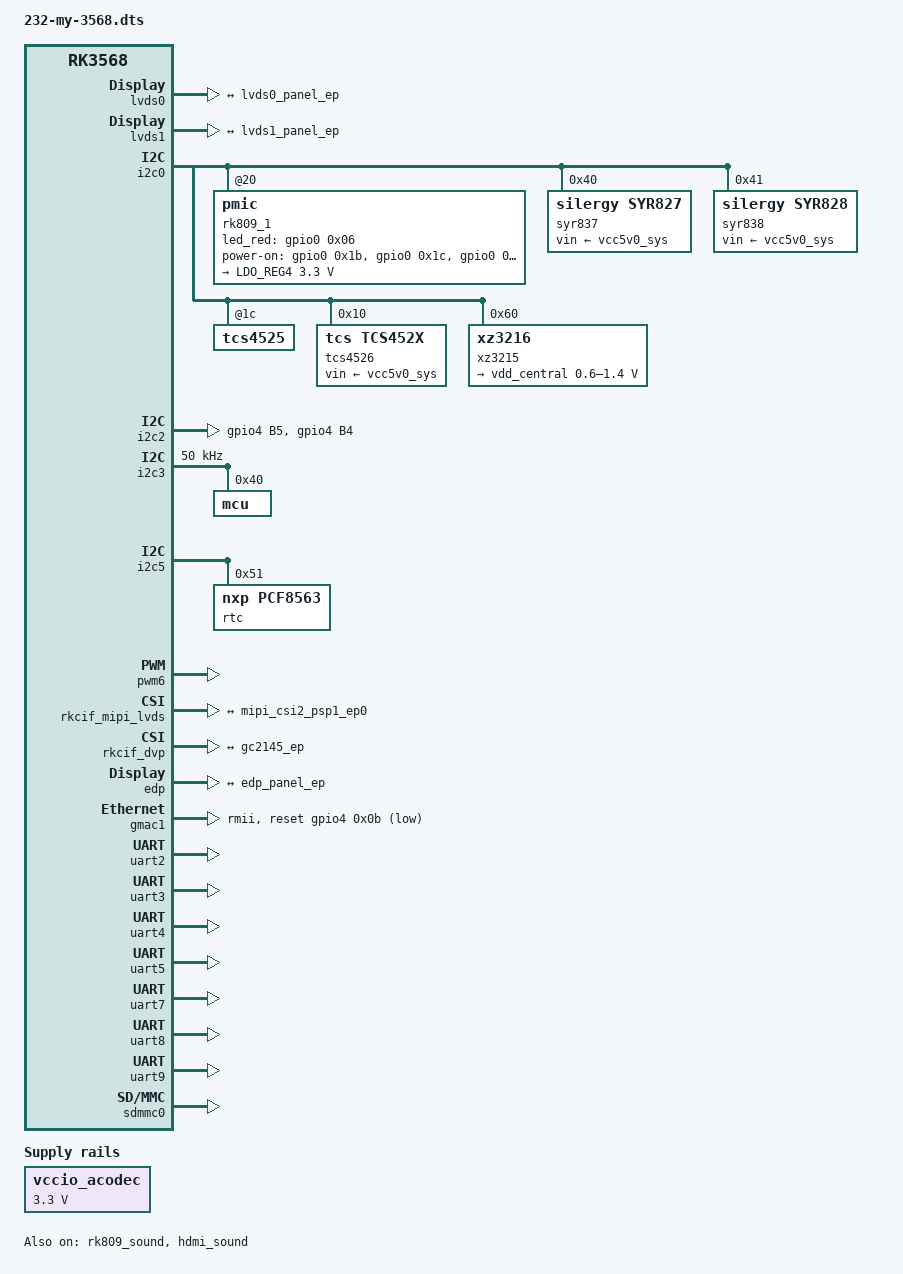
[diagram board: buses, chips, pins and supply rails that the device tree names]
// SPDX-License-Identifier: (GPL-2.0+ OR MIT)
/*
 * Copyright (c) 2020 Rockchip Electronics Co., Ltd.
 *
 */

#include "rk3568-evb2-lp4x-v10.dtsi"
#include "rk3568-android.dtsi"


/ {
    serial-number = "5182024030600284";

    
    backlight2 {
		default-brightness-level = <0x80>;
		enable-gpios = <&gpio3 0x18 0x00>;
		lcd_backlight_max = <0xff>;
		lcd_backlight_min = <0x32>;
		lcd_pwm_pol = <0x01>;
		pwms = <&pwm7 0 25000 0>;
        status = "disabled";
	};

    edp-panel {
        compatible = "simple-panel";
        backlight = <&backlight>;
        enable-gpios = <&gpio3 0x17 0x00>;
        enable-delay-ms = <100>;
        prepare-delay-ms = <200>;
        status = "disabled";
    
        display-timings {
            native-mode = <&edp_timing>;
    
            edp_timing: edp_timing {
                clock-frequency = <148500000>; // 80000000
                hactive = <1920>;
                hback-porch = <240>;
                hfront-porch = <20>;
                hsync-len = <2>;
                vactive = <1080>;
                vback-porch = <20>;
                vfront-porch = <32>;
                vsync-len = <2>;
                hsync-active = <0>;
                vsync-active = <0>;
                de-active = <0>;
                pixelclk-active = <0>;
            };
        };

        ports {
            #address-cells = <1>;
            #size-cells = <0>;

            port@0 {
                reg = <0x00>;
                edp_panel_ep: endpoint {
                    remote-endpoint = <&edp_psp1_ep>;
                };
            };
        };
    };

    lvds-panel {
		backlight = <&backlight>;
		bus-format = <0x1010>;
		compatible = "simple-panel";
		enable-delay-ms = <0x64>;
		init-delay-ms = <0x64>;
		prepare-delay-ms = <0xc8>;
		unprepare-delay-ms = <0xc8>;
		power-supply = <&vcc_3v3>;
		enable-gpios = <&gpio3 0x1d 0x00>;
        status = "disabled";

		display-timings {
			native-mode = <&lvds0_timing>;

			lvds0_timing: lvds_timing {
				clock-frequency = <80000000>;
                de-active = <0>;
                hactive = <1368>;
                hback-porch = <148>;
                hfront-porch = <88>;
                hsync-active = <0>;
                hsync-len = <44>;
                pixelclk-active = <0>;
                vactive = <768>;
                vback-porch = <36>;
                vfront-porch = <4>;
                vsync-active = <0>;
                vsync-len = <5>;
			};
		};

        ports {
            #address-cells = <1>;
            #size-cells = <0>;

            port@0 {
                reg = <0x00>;
                lvds0_panel_ep: endpoint {
                    remote-endpoint = <&lvds0_p1_ep>;
                };
            };
        };
	};

	lvds1-panel {
		backlight = <&backlight1>;
		bus-format = <0x1010>;
		compatible = "simple-panel";
		enable-delay-ms = <0x64>;
		init-delay-ms = <0x64>;
		prepare-delay-ms = <0xc8>;
		unprepare-delay-ms = <0xc8>;
		power-supply = <&vcc3v3_lcd0_n>;
        status = "disabled";

		display-timings {
			native-mode = <&lvds1_timing>;

			lvds1_timing: lvds1_timing {
				clock-frequency = <80000000>;
                de-active = <0>;
                hactive = <1366>;
                hback-porch = <148>;
                hfront-porch = <88>;
                hsync-active = <0>;
                hsync-len = <44>;
                pixelclk-active = <0>;
                vactive = <768>;
                vback-porch = <36>;
                vfront-porch = <4>;
                vsync-active = <0>;
                vsync-len = <5>;
			};
		};

		ports {
            #address-cells = <1>;
            #size-cells = <0>;

            port@0 {
                reg = <0x00>;

                lvds1_panel_ep: endpoint {
                    remote-endpoint = <&lvds1_p1_ep>;
                };
            };
		};
	};
    
    mipi-sequence {
		compatible = "mipi-sequence-innohi";
		panel-init-sequence = <0x00 0x00 0x00 0x00 0x00 0x00 0x00 0x00 0x00 0x00 0x00 0x00 0x00 0x00 0x00 0x00 0x00 0x00 0x00 0x00 0x00 0x00 0x00 0x00 0x00 0x00 0x00 0x00 0x00 0x00 0x00 0x00 0x00 0x00 0x00 0x00 0x00 0x00 0x00 0x00 0x00 0x00 0x00 0x00 0x00 0x00 0x00 0x00 0x00 0x00 0x00 0x00 0x00 0x00 0x00 0x00 0x00 0x00 0x00 0x00 0x00 0x00 0x00 0x00 0x00 0x00 0x00 0x00 0x00 0x00 0x00 0x00 0x00 0x00 0x00 0x00 0x00 0x00 0x00 0x00 0x00 0x00 0x00 0x00 0x00 0x00 0x00 0x00 0x00 0x00 0x00 0x00 0x00 0x00 0x00 0x00 0x00 0x00 0x00 0x00 0x00 0x00 0x00 0x00 0x00 0x00 0x00 0x00 0x00 0x00 0x00 0x00 0x00 0x00 0x00 0x00 0x00 0x00 0x00 0x00 0x00 0x00 0x00 0x00 0x00 0x00 0x00 0x00 0x00 0x00 0x00 0x00 0x00 0x00 0x00 0x00 0x00 0x00 0x00 0x00 0x00 0x00 0x00 0x00 0x00 0x00 0x00 0x00 0x00 0x00 0x00 0x00 0x00 0x00 0x00 0x00 0x00 0x00 0x00 0x00 0x00 0x00 0x00 0x00 0x00 0x00 0x00 0x00 0x00 0x00 0x00 0x00 0x00 0x00 0x00 0x00 0x00 0x00 0x00 0x00 0x00 0x00 0x00 0x00 0x00 0x00 0x00 0x00 0x00 0x00 0x00 0x00 0x00 0x00 0x00 0x00 0x00 0x00 0x00 0x00 0x00 0x00 0x00 0x00 0x00 0x00 0x00 0x00 0x00 0x00 0x00 0x00 0x00 0x00 0x00 0x00 0x00 0x00 0x00 0x00 0x00 0x00 0x00 0x00 0x00 0x00 0x00 0x00 0x00 0x00 0x00 0x00 0x00 0x00 0x00 0x00 0x00 0x00 0x00 0x00 0x00 0x00 0x00 0x00 0x00 0x00 0x00 0x00 0x00 0x00 0x00 0x00 0x00 0x00 0x00 0x00 0x00 0x00 0x00 0x00 0x00 0x00 0x00 0x00 0x00 0x00 0x00 0x00 0x00 0x00 0x00 0x00 0x00 0x00 0x00 0x00 0x00 0x00 0x00 0x00 0x00 0x00 0x00 0x00 0x00 0x00 0x00 0x00 0x00 0x00 0x00 0x00 0x00 0x00 0x00 0x00 0x00 0x00 0x00 0x00 0x00 0x00 0x00 0x00 0x00 0x00 0x00 0x00 0x00 0x00 0x00 0x00 0x00 0x00 0x00 0x00 0x00 0x00 0x00 0x00 0x00 0x00 0x00 0x00 0x00 0x00 0x00 0x00 0x00 0x00 0x00 0x00 0x00 0x00 0x00 0x00 0x00 0x00 0x00 0x00 0x00 0x00 0x00 0x00 0x00 0x00 0x00 0x00 0x00 0x00 0x00 0x00 0x00 0x00 0x00 0x00 0x00 0x00 0x00 0x00 0x00 0x00 0x00 0x00 0x00 0x00 0x00 0x00 0x00 0x00 0x00 0x00 0x00 0x00 0x00 0x00 0x00 0x00 0x00 0x00 0x00 0x00 0x00 0x00 0x00 0x00 0x00 0x00 0x00 0x00 0x00 0x00 0x00 0x00 0x00 0x00 0x00 0x00 0x00 0x00 0x00 0x00 0x00 0x00 0x00 0x00 0x00 0x00 0x00 0x00 0x00 0x00 0x00 0x00 0x00 0x00 0x00 0x00 0x00 0x00 0x00 0x00 0x00 0x00 0x00 0x00 0x00 0x00 0x00 0x00 0x00 0x00 0x00 0x00 0x00 0x00 0x00 0x00 0x00 0x00 0x00 0x00 0x00 0x00 0x00 0x00 0x00 0x00 0x00 0x00 0x00 0x00 0x00 0x00 0x00 0x00 0x00 0x00 0x00 0x00 0x00 0x00 0x00 0x00 0x00 0x00 0x00 0x00 0x00 0x00 0x00 0x00 0x00 0x00 0x00 0x00 0x00 0x00 0x00 0x00 0x00 0x00 0x00 0x00 0x00 0x00 0x00 0x00 0x00 0x00 0x00 0x00 0x00 0x00 0x00 0x00 0x00 0x00 0x00 0x00 0x00 0x00 0x00 0x00 0x00 0x00 0x00 0x00 0x00 0x00 0x00 0x00 0x00 0x00 0x00 0x00 0x00 0x00 0x00 0x00 0x00 0x00 0x00 0x00 0x00 0x00 0x00 0x00 0x00 0x00 0x00 0x00 0x00 0x00 0x00 0x00 0x00 0x00 0x00 0x00 0x00 0x00 0x00 0x00 0x00 0x00 0x00 0x00 0x00 0x00 0x00 0x00 0x00 0x00 0x00 0x00 0x00 0x00 0x00 0x00 0x00 0x00 0x00 0x00 0x00 0x00 0x00 0x00 0x00 0x00 0x00 0x00 0x00 0x00 0x00 0x00 0x00 0x00 0x00 0x00 0x00 0x00 0x00 0x00 0x00 0x00 0x00 0x00 0x00 0x00 0x00 0x00 0x00 0x00 0x00 0x00 0x00 0x00 0x00 0x00 0x00 0x00 0x00 0x00 0x00 0x00 0x00 0x00 0x00 0x00 0x00 0x00 0x00 0x00 0x00 0x00 0x00 0x00 0x00 0x00 0x00 0x00 0x00 0x00 0x00 0x00 0x00 0x00 0x00 0x00 0x00 0x00 0x00 0x00 0x00 0x00 0x00 0x00 0x00 0x00 0x00 0x00 0x00 0x00 0x00 0x00 0x00 0x00 0x00 0x00 0x00 0x00 0x00 0x00 0x00 0x00 0x00 0x00 0x00 0x00 0x00 0x00 0x00 0x00 0x00 0x00 0x00 0x00 0x00 0x00 0x00 0x00 0x00 0x00 0x00 0x00 0x00 0x00 0x00 0x00 0x00 0x00 0x00 0x00 0x00 0x00 0x00 0x00 0x00 0x00 0x00 0x00 0x00 0x00 0x00 0x00 0x00 0x00 0x00 0x00 0x00 0x00 0x00 0x00 0x00 0x00 0x00 0x00 0x00 0x00 0x00 0x00 0x00 0x00 0x00 0x00 0x00 0x00 0x00 0x00 0x00 0x00 0x00 0x00 0x00 0x00 0x00 0x00 0x00 0x00 0x00 0x00 0x00 0x00 0x00 0x00 0x00 0x00 0x00 0x00 0x00 0x00 0x00 0x00 0x00 0x00 0x00 0x00 0x00 0x00 0x00 0x00 0x00 0x00 0x00 0x00 0x00 0x00 0x00 0x00 0x00 0x00 0x00 0x00 0x00 0x00 0x00 0x00 0x00 0x00 0x00 0x00 0x00 0x00 0x00 0x00 0x00 0x00 0x00 0x00 0x00 0x00 0x00 0x00 0x00 0x00 0x00 0x00 0x00 0x00 0x00 0x00 0x00 0x00 0x00 0x00 0x00 0x00 0x00 0x00 0x00 0x00 0x00 0x00 0x00 0x00 0x00 0x00 0x00 0x00 0x00 0x00 0x00 0x00 0x00 0x00 0x00 0x00 0x00 0x00 0x00 0x00 0x00 0x00 0x00 0x00 0x00 0x00 0x00 0x00 0x00 0x00 0x00 0x00 0x00 0x00 0x00 0x00 0x00 0x00 0x00 0x00 0x00 0x00 0x00 0x00 0x00 0x00 0x00 0x00 0x00 0x00 0x00 0x00 0x00 0x00 0x00 0x00 0x00 0x00 0x00 0x00 0x00 0x00 0x00 0x00 0x00 0x00 0x00 0x00 0x00 0x00 0x00 0x00 0x00 0x00 0x00 0x00 0x00 0x00 0x00 0x00 0x00 0x00 0x00 0x00 0x00 0x00 0x00 0x00 0x00 0x00 0x00 0x00 0x00 0x00 0x00 0x00 0x00 0x00 0x00 0x00 0x00 0x00 0x00 0x00 0x00 0x00 0x00 0x00 0x00 0x00 0x00 0x00 0x00 0x00 0x00 0x00 0x00 0x00 0x00 0x00 0x00 0x00 0x00 0x00 0x00 0x00 0x00 0x00 0x00 0x00 0x00 0x00 0x00 0x00 0x00 0x00 0x00 0x00 0x00 0x00 0x00 0x00 0x00 0x00 0x00 0x00 0x00 0x00 0x00 0x00 0x00 0x00 0x00 0x00 0x00 0x00 0x00 0x00 0x00 0x00 0x00 0x00 0x00 0x00 0x00 0x00 0x00 0x00 0x00 0x00 0x00 0x00 0x00 0x00 0x00 0x00 0x00 0x00 0x00 0x00 0x00 0x00 0x00 0x00 0x00 0x00 0x00 0x00 0x00 0x00 0x00 0x00 0x00 0x00 0x00 0x00 0x00 0x00 0x00 0x00 0x00 0x00 0x00 0x00 0x00 0x00>;
		panel-init-sequence-size = <0x00>;
		panel-sequence-type = <0x00>;
		status = "disabled";
	};

    own-gpio {
		compatible = "gpio-innohi";
		pinctrl-0 = <&own_gpp>;
		pinctrl-names = "default";
		status = "disabled";
	};
    
    
	vcc-camera-regulator {
		status = "disabled";
		compatible = "regulator-fixed";
		enable-active-high;
		phandle = <0x216>;
		regulator-always-on;
		regulator-boot-on;
		regulator-name = "vcc_camera";  
        regulator-min-microvolt = <3300000>;
        regulator-max-microvolt = <3300000>;        
	};
};

&chosen {
    stdout-path = "serial2:1500000n8";
    bootargs = "ro rootwait console=ttyS2,1500000 earlycon=uart8250,mmio32,0xfe660000,1500000";
    //bootargs = "storagemedia=emmc ro rootwait console=ttyFIQ0 earlycon=uart8250,mmio32,0xfe660000 chip=rk3568";
};

&backlight {
    default-brightness-level = <0x80>;
    lcd_backlight_max = <0xff>;
    lcd_backlight_min = <0x32>;
    lcd_pwm_pol = <0x01>;
    enable-gpios = <&gpio3 0x1c 0x00>;
    status = "disabled";
};

&backlight1 {
    default-brightness-level = <0x80>;
    lcd_backlight_max = <0xff>;
    lcd_backlight_min = <0x32>;
    lcd_pwm_pol = <0x01>;
    enable-gpios = <&gpio3 0x1c 0x00>;
    pwms = <&pwm7 0 25000 0>;
    status = "disabled";
};

&pinctrl {
	own_gpio {
		own_gpp: own-gpio-pins {
			rockchip,pins = <0x03 0x19 0x00 0x12c 0x03 0x1c 0x00 0x12c 0x03 0x1d 0x00 0x12c 0x00 0x06 0x00 0x12c 0x00 0x0f 0x00 0x12c 0x00 0x1b 0x00 0x12c 0x00 0x1c 0x00 0x12c 0x00 0x1d 0x00 0x12c 0x02 0x1d 0x00 0x12c 0x04 0x12 0x00 0x12c 0x04 0x13 0x00 0x12c 0x04 0x14 0x00 0x12c>;
		};
	};

    lcd0 {
        /omit-if-no-ref/
        lcd0gp: lcd0-rst-gpio {
			rockchip,pins = <0x03 0x1a 0x00 0x12c>;
		};
	};

    /omit-if-no-ref/
	i2c2m2_xfer: i2c2m2-xfer {
		rockchip,pins =
			<4 RK_PB5 0 &pcfg_pull_none_smt>,
			<4 RK_PB4 0 &pcfg_pull_none_smt>;
	};

    camera-pwr {
		rockchip,pins = <0x00 0x11 0x00 &pcfg_pull_none_smt>;
	};
};

&pmu_io_domains {
    vccio4-supply = <&vcc_1v8>;
};

&lvds0 {
    ports {
		port@1 {
			#address-cells = <0x01>;
			#size-cells = <0x00>;
			reg = <0x01>;

			lvds0_p1_ep: endpoint@0 {
				remote-endpoint = <&lvds0_panel_ep>;
			};
		};
    };
};

&lvds1 {
    ports {
		port@1 {
			reg = <0x01>;

			lvds1_p1_ep: endpoint {
				remote-endpoint = <&lvds1_panel_ep>;
			};
		};
    };
};

&i2c0 {
    rk809_1: pmic@20 {
        led_red_gpio = <&gpio0 0x06 0x00>;
		power-on-gpios = <&gpio0 0x1b 0x00 &gpio0 0x1c 0x00 &gpio0 0x1d 0x00 &gpio2 0x1d 0x00>;
        codec {
			hp-mute-delay-ms = <30>;
			mic-gain = <153>;
			hp-ctl-gpios = <&gpio3 0x1e 0x00>;
			spk-ctl-gpios = <&gpio2 0x1e 0x00>;
        };
        regulators {
            LDO_REG4 {
                regulator-max-microvolt = <3300000>;
                regulator-min-microvolt = <3300000>;
            };
        };
    };

   syr837@40 {
		compatible = "silergy,syr827";
		fcs,suspend-voltage-selector = <0x01>;
		reg = <0x40>;
		regulator-always-on;
		regulator-boot-on;
		regulator-compatible = "fan53555-reg";
		regulator-initial-state = <0x03>;
		regulator-init-microvolt = <900000>;
		regulator-max-microvolt = <1500000>;
		regulator-min-microvolt = <712500>;
		regulator-ramp-delay = <1000>;
		//regulator-name = "vdd_cpu";
        regulator-name = "vdd_cpu_little"; 
		vin-supply = <&vcc5v0_sys>;

		regulator-state-mem {
			regulator-changeable-in-suspend;
			regulator-on-in-suspend;
			regulator-suspend-microvolt = <1100000>;
		};
	};

	syr838@41 {
		compatible = "silergy,syr828";
		fcs,suspend-voltage-selector = <0x01>;
		phandle = <0x18f>;
		reg = <0x41>;
		regulator-always-on;
		regulator-boot-on;
		regulator-compatible = "fan53555-reg";
		regulator-initial-state = <0x03>;
		regulator-init-microvolt = <900000>;
		regulator-max-microvolt = <1500000>;
		regulator-min-microvolt = <712500>;
		//regulator-name = "vdd_cpu";
		regulator-name = "vdd_cpu_big";
		regulator-ramp-delay = <1000>;
		vin-supply = <&vcc5v0_sys>;

		regulator-state-mem {
			regulator-changeable-in-suspend;
			regulator-on-in-suspend;
			regulator-suspend-microvolt = <1100000>;
		};
	};
    
    tcs4525@1c {
        regulator-name = "vdd_gpu";
    };
    
	tcs4526@10 {
		compatible = "tcs,tcs452x";
		fcs,suspend-voltage-selector = <0x01>;
		phandle = <0x18b>;
		reg = <0x10>;
		regulator-always-on;
		regulator-boot-on;
		regulator-compatible = "fan53555-reg";
		regulator-initial-mode = <0x02>;
		regulator-init-microvolt = <900000>;
		regulator-max-microvolt = <1500000>;
		regulator-min-microvolt = <712500>;
		//regulator-name = "vdd_cpu";
        regulator-name = "vdd_npu"; 
		regulator-ramp-delay = <2300>;
		vin-supply = <&vcc5v0_sys>;

		regulator-state-mem {
			regulator-changeable-in-suspend;
			regulator-on-in-suspend;
			regulator-suspend-microvolt = <1100000>;
		};
	};

    xz3215@60 {
		compatible = "xz3216";
		reg = <0x60>;

		regulators {
			#address-cells = <0x01>;
			#size-cells = <0x00>;

			regulator@0 {
				fcs,suspend-voltage-selector = <1>;
                reg = <0>;
                regulator-always-on;
                regulator-boot-on;
                regulator-compatible = "xz_dcdc1";
                regulator-initial-state = <3>;
                regulator-max-microvolt = <1400000>;
                regulator-min-microvolt = <600000>;
                //regulator-name = "vdd_cpu";
                regulator-name = "vdd_central"; 
                regulator-ramp-delay = <1000>;
                vin-supply = <&vcc5v0_sys>;

				regulator-state-mem {
					regulator-changeable-in-suspend;
					regulator-on-in-suspend;
					regulator-suspend-microvolt = <1100000>;
				};
			};
		};
	};
};

&i2c1 {
	focaltech@38 {
    	compatible = "focaltech,fts";
        reg = <0x38>;
        status = "disabled";
		focaltech,display-coords = <0x00 0x00 0x2d0 0x500>;
		focaltech,max-touch-number = <0x01>;
		focaltech,irq-gpio = <&gpio0 0x0d 0x08>;
		focaltech,reset-gpio = <&gpio0 0x0e 0x00>;
	};

	goodix_ts@5d {
		compatible = "goodix,gt9xx";
		reg = <0x5d>;
        status = "disabled";
		goodix,cfg-group = [41 58 02 00 04 05 35 00 01 18 28 0a 64 4b 03 05 00 00 00 00 00 00 06 18 1a 1e 14 8b 2b 0e 5f 61 31 0d 00 00 00 02 01 2c 23 00 00 00 00 03 64 32 00 00 00 50 82 94 d5 02 07 00 00 04 8d 54 00 83 5c 00 78 66 00 70 70 00 68 7b 00 68 00 00 00 00 00 00 00 00 00 00 00 00 00 00 00 00 00 00 00 00 00 00 00 00 00 00 00 00 00 00 00 00 00 00 00 00 02 04 06 08 0a 0c 0e 10 12 14 16 18 1a 1c ff ff ff ff ff ff ff ff ff ff ff ff ff ff ff ff 00 02 04 06 08 0a 0c 0f 10 12 13 26 24 22 21 20 1f 1e 1d 1c 18 16 ff ff ff ff ff ff ff ff ff ff ff ff ff ff ff ff ff ff ff ff 72 01];
		goodix,irq-gpio = <&gpio0 0x0d 0x08>;
		goodix,rst-gpio = <&gpio0 0x0e 0x00>;
		swap-x = <0x00>;
		swap-xy = <0x00>;
		swap-y = <0x00>;
	};

	ilitek@41 {
		compatible = "tchip,ilitek";
		reg = <0x41>;
        status = "disabled";
		ilitek,irq-gpio = <&gpio0 0x0d 0x08>;
		ilitek,name = "ilitek_i2c";
		ilitek,reset-gpio = <&gpio0 0x0e 0x00>;
	};

	sitronix@55 {
		compatible = "sitronix,cf1216";
		reg = <0x55>;
        status = "disabled";
		sitronix,interrupt-gpios = <&gpio0 0x0d 0x08>;
		sitronix,reset-gpios = <&gpio0 0x0e 0x00>;
	};
};

&i2c2 {
    pinctrl-names = "default", "gpio";
	pinctrl-0 = <&i2c2m1_xfer>, <&i2c2m2_xfer>;
    status = "okay";

	gc5025@37 {
		clock-names = "xvclk";
		clocks = <&cru CLK_CAM0_OUT>;
		compatible = "galaxycore,gc5025";
		pinctrl-0 = <&refclk_pins>;
		pinctrl-names = "default";
		power-domains = <&power 0x08>;
		reg = <0x37>;
		pwdn-gpios = <&gpio3 0x08 0x01>;
		reset-gpios = <&gpio3 0x05 0x01>;
		rockchip,camera-module-facing = "front";
		rockchip,camera-module-index = <0x01>;
		rockchip,camera-module-lens-name = "CHT842-MD";
		rockchip,camera-module-name = "TongJu";
		status = "disabled";

		port {
			gc5025_ep: endpoint {
				data-lanes = <0x01 0x02>;
				remote-endpoint = <&csi2_dphy2_psp0_ep1>;
			};
		};
	};

	gc8034@37 {
		clock-names = "xvclk";
		clocks = <&cru CLK_CAM0_OUT>;
		compatible = "galaxycore,gc8034";
		pinctrl-0 = <&cif_clk>;
		pinctrl-names = "default";
		power-domains = <&power 0x08>;
		reg = <0x37>;
		pwdn-gpios = <&gpio4 0x0a 0x01>;
		reset-gpios = <&gpio3 0x06 0x01>;
		rockchip,camera-module-facing = "back";
		rockchip,camera-module-index = <0x00>;
		rockchip,camera-module-lens-name = "CK8401";
		rockchip,camera-module-name = "RK-CMK-8M-2-v1";
		status = "disabled";

		port {
			gc8034_ep: endpoint {
				data-lanes = <0x01 0x02 0x03 0x04>;
				remote-endpoint = <&csi2_dphy0_psp0_ep1>;
			};
		};
	};

	gm8775@2c {
        clock-frequency = <80000000>;
        hactive = <1366>;
        vactive = <768>;
        hback-porch = <148>;
        hfront-porch = <88>;
        hsync-len = <44>;
        vback-porch = <36>;
        vfront-porch = <4>;
        vsync-len = <5>;
		compatible = "gm8775";
		lcd_bus_format = <0x01>;
		lcd_lvds_channel = <0x00>;
		lcd_lvds_swap = <0x00>;
		lcd_test_mode = <0x00>;
		reg = <0x2c>;
		status = "disabled";
	};

	lt8911@29 {
		compatible = "lt8911";
		reg = <0x29>;
        clock-frequency = <80000000>;
        hactive = <1366>;
        vactive = <768>;
        hback-porch = <148>;
        hfront-porch = <88>;
        hsync-len = <44>;
        vback-porch = <36>;
        vfront-porch = <4>;
        vsync-len = <5>;
		lcd_bus_format = <0x01>;
		lcd_test_mode = <0x00>;
		reset-gpios = <&gpio3 0x1a 0x01>;
		status = "disabled";
	};

	ov5695@36 {
		reg = <0x36>;
		clock-names = "xvclk";
		clocks = <&cru CLK_CIF_OUT>;
		compatible = "ovti,ov5695";
		pinctrl-0 = <&cif_clk>;
		pinctrl-names = "default";
		power-domains = <&power 0x08>;
		pwdn-gpios = <&gpio4 0x0a 0x00>;
		reset-gpios = <&gpio3 0x06 0x00>;
		rockchip,camera-module-facing = "back";
		rockchip,camera-module-index = <0x00>;
		rockchip,camera-module-lens-name = "CHT842-MD";
		rockchip,camera-module-name = "TongJu";
		status = "disabled";

		port {
			ov5695_ep: endpoint {
				data-lanes = <0x01 0x02>;
				remote-endpoint = <&csi2_dphy1_psp0_ep1>;
			};
		};
	};
};

&i2c3 {
    clock-frequency = <50000>;
    status = "okay";
	pinctrl-0 = <&i2c3m1_xfer>;

    mcu@40 {
		compatible = "mcu";
		reg = <0x40>;
		status = "okay";
	};
};

&i2c4 {
	gc2145@3c {
		compatible = "galaxycore,gc2145";
		reg = <0x3c>;
		clock-names = "xvclk";
		clocks = <&cru 0xd6>;

		pinctrl-0 = <&cif_clk &cif_dvp_clk &cif_dvp_bus16>;
		pinctrl-names = "default";
		power-domains = <&power 0x08>;
		pwdn-gpios = <&gpio4 0x0a 0x00>;
		reset-gpios = <&gpio3 0x06 0x00>;
		//pwdn-gpios = <0x8a 0x06 0x00>;
		rockchip,camera-module-facing = "back";
		rockchip,camera-module-index = <0x00>;
		rockchip,camera-module-lens-name = "Largan";
		rockchip,camera-module-name = "CameraKing";
		status = "disabled";

		port {
			gc2145_ep: endpoint {
				remote-endpoint = <&rkcif_dvp_ep>;
			};
		};
	};
};

&i2c5 {
	status = "okay";

	mxc6655xa@15 {
		status = "disabled";
	};

	rtc@51 {
		compatible = "nxp,pcf8563";
		reg = <0x51>;
		status = "okay";
                
	};
};

&pwm3 {
    ir_key1 {
		rockchip,key_table = <0xf0 0x74 0xad 0x66 0xef 0x8b 0xa7 0x71 0xa1 0x179 0xb2 0x67 0xee 0xf1 0xa3 0x73 0xa8 0x69 0xa4 0xe8 0xa0 0x6a 0xab 0x72 0xa9 0x0f 0xa5 0x6c 0xed 0xf2 0xac 0x9e 0xe8 0x02 0xe4 0x03 0xe0 0x04 0xe9 0x05 0xe5 0x06 0xe1 0x07 0xea 0x08 0xe6 0x09 0xe2 0x0a 0xe7 0x0b 0xeb 0x34 0xe3 0x6f 0xec 0xa8 0xaf 0xd0 0xa6 0xa4 0xaa 0xa4>;
		rockchip,usercode = <0xff00>;
	};

	ir_key2 {
		rockchip,key_table = <0xff 0x74 0xe5 0x66 0xfd 0x8b 0xe4 0x179 0xfa 0x67 0xdc 0x73 0xf8 0x69 0xfb 0xe8 0xf7 0x6a 0xdd 0x72 0xfc 0x9e 0xf9 0x6c>;
		rockchip,usercode = <0x1dcc>;
	};

	ir_key3 {
		rockchip,key_table = <0xee 0xe8 0xf0 0x9e 0xf8 0x67 0xbb 0x6c 0xef 0x69 0xed 0x6a 0xfc 0x66 0xf1 0x73 0xfd 0x72 0xb7 0xd9 0xff 0x74 0xf3 0x71 0xbf 0x8b 0xf9 0x191 0xf5 0x192 0xb3 0x184 0xbe 0x02 0xba 0x03 0xb2 0x04 0xbd 0x05 0xf9 0x06 0xb1 0x07 0xfc 0x08 0xf8 0x09 0xb0 0x0a 0xb6 0x0b 0xb5 0x0e>;
		rockchip,usercode = <0x1dcc>;
	};
};

&pwm6 {
    status = "okay";
};

&pwm7 {
    status = "disabled";
};

&rk_headset {
    status = "disabled";
};

&rkcif_mipi_lvds {
	port {
		cif_mipi_p_ep: endpoint {
			data-lanes = <0x01 0x02>;
			remote-endpoint = <&mipi_csi2_psp1_ep0>;
		};
	};
};

&mipi_csi2_hw {
	status = "disabled";

	ports {
		#address-cells = <0x01>;
		#size-cells = <0x00>;

		port@0 {
			#address-cells = <0x01>;
			#size-cells = <0x00>;
			reg = <0x00>;

			mipi_csi2_psp0_ep1: endpoint@1 {
				data-lanes = <0x01 0x02>;
				reg = <0x01>;
				remote-endpoint = <&csi2_dphy2_psp1_ep1>;
			};
		};

		port@1 {
			#address-cells = <0x01>;
			#size-cells = <0x00>;
			reg = <0x01>;

			mipi_csi2_psp1_ep0: endpoint@0 {
				data-lanes = <0x01 0x02>;
				reg = <0x00>;
				remote-endpoint = <&cif_mipi_p_ep>;
			};
		};
	};
};

&csi2_dphy0 {
	ports {
		#address-cells = <0x01>;
		#size-cells = <0x00>;

		port@0 {
			#address-cells = <0x01>;
			#size-cells = <0x00>;
			reg = <0x00>;

			csi2_dphy0_psp0_ep1: endpoint@1 {
				data-lanes = <0x01 0x02 0x03 0x04>;
				reg = <0x01>;
				remote-endpoint = <&gc8034_ep>;
			};
		};

		port@1 {
			#address-cells = <0x01>;
			#size-cells = <0x00>;
			reg = <0x01>;

			endpoint@1 {
				reg = <0x01>;
				remote-endpoint = <&rkisp_vir0_ep>;
			};
		};
	};
};

&csi2_dphy1 {
	ports {
		#address-cells = <0x01>;
		#size-cells = <0x00>;

		port@0 {
			#address-cells = <0x01>;
			#size-cells = <0x00>;
			reg = <0x00>;

			csi2_dphy1_psp0_ep1: endpoint@1 {
				data-lanes = <0x01 0x02>;
				reg = <0x01>;
				remote-endpoint = <&ov5695_ep>;
			};
		};

		port@1 {
			#address-cells = <0x01>;
			#size-cells = <0x00>;
			reg = <0x01>;

			csi2_dphy1_psp1_ep1: endpoint@1 {
				reg = <0x01>;
				remote-endpoint = <&rkisp_vir0_ep>;
			};
		};
	};
};

&csi2_dphy2 {
	ports {
		#address-cells = <0x01>;
		#size-cells = <0x00>;

		port@0 {
			#address-cells = <0x01>;
			#size-cells = <0x00>;
			reg = <0x00>;

			csi2_dphy2_psp0_ep1: endpoint@1 {
				data-lanes = <0x01 0x02>;
				reg = <0x01>;
				remote-endpoint = <&gc5025_ep>;
			};
		};

		port@1 {
			#address-cells = <0x01>;
			#size-cells = <0x00>;
			reg = <0x01>;

			csi2_dphy2_psp1_ep1: endpoint@1 {
				reg = <0x01>;
				remote-endpoint = <&mipi_csi2_psp0_ep1>;
			};
		};
	};
};

&rkisp_vir0 {
    port {
		#address-cells = <0x01>;
		#size-cells = <0x00>;

		rkisp_vir0_ep: endpoint@0 {
			reg = <0x00>;
			remote-endpoint = <&csi2_dphy1_psp1_ep1>;
		};
	};
};

&rkcif_dvp {
	port {
		rkcif_dvp_ep: endpoint {
			bus-width = <0x08>;
			hsync-active = <0x01>;
			vsync-active = <0x00>;
			remote-endpoint = <&gc2145_ep>;
		};
	};
};

&edp {
    force-hpd;
    ports {
		port@1 {
			#address-cells = <0x01>;
			#size-cells = <0x00>;
			reg = <0x01>;

			edp_psp1_ep: endpoint@0 {
				reg = <0x00>;
				remote-endpoint = <&edp_panel_ep>;
			};
		};
    };
};

&rk809_sound {
    compatible = "simple-audio-card";

	simple-audio-card,format = "i2s";
	simple-audio-card,mclk-fs = <256>;
	simple-audio-card,name = "rockchip,rk809-codec";

	status = "okay";

	simple-audio-card,codec {
		sound-dai = <&rk809_codec 0>;
	};

	simple-audio-card,cpu {
		sound-dai = <&i2s1_8ch>;
	};
};

&hdmi_sound {
    compatible = "rockchip,hdmi-sound";
	rockchip,card-name = "hdmi";
	rockchip,cpu = <&i2s0_8ch>;
	rockchip,codec = <&hdmi>;
	rockchip,mclk-fs = <128>;
	status = "okay";
};

&i2s0_8ch {
    status = "disabled";
};

&hdmi {
    status = "disabled";
};

&vp0 {
	rockchip,plane-mask = <0x00>;
	rockchip,primary-plane = <0x00>;
};

&vp1 {
	rockchip,plane-mask = <0x15>;
	rockchip,primary-plane = <0x04>;
};

&vp2 {
	rockchip,plane-mask = <0x2a>;
	rockchip,primary-plane = <0x05>;
};

&dsi0 {
    #phy-cells = <0>;
	rockchip,lane-rate = <0x1a4>;
    phy-names = "mipi_dphy";
	status = "disabled";
    panel@0 {
        init-delay-ms = <0x78>;
		mipi_lcd_index = <0x09>;
		panel-init-sequence;
		pinctrl-0 = <&lcd0gp>;
		reset-gpios = <&gpio3 0x1a 0x01>;
    };
};

&dsi1 {
    phy-names = "mipi_dphy";
	status = "disabled";
    panel@0 {
        init-delay-ms = <0x78>;
		mipi_lcd_index = <0x09>;
		panel-init-sequence;
		panel-init-sequence = <0x5f80111 0x5f80129>;
		pinctrl-0 = <&lcd0gp>;
		reset-gpios = <&gpio3 0x1a 0x01>;
    };
};

&gmac1 {
	phy-mode = "rmii";

	snps,reset-gpio = <&gpio4 0x0b GPIO_ACTIVE_LOW>;

    assigned-clock-rates = <0 50000000>;
	assigned-clocks = <&cru SCLK_GMAC1_RX_TX>, <&cru SCLK_GMAC1>;
	assigned-clock-parents = <&cru SCLK_GMAC1_RMII_SPEED>;

	pinctrl-0 = <&gmac1m1_miim>, <&gmac1m1_clkinout>, <&gmac1m1_tx_bus2>, <&gmac1m1_rx_bus2>, <&gmac1m1_rx_er>;

	clock_in_out = "output";
    local-mac-address = [86 86 df 56 cc 7d];
	status = "okay";
};

&display_subsystem {
    route {
        route_dsi0 {
            status = "disabled";
        };

        route_hdmi {
            status = "disabled";
        };
        
        route-lvds {
            status = "disabled";
            cubic_lut,offset = <8192>;
            logo,bpp = <16>;
            logo,width = <1920>;
            logo,height = <1080>;
            logo,offset = <8302592>;
            logo,ymirror = <0>;
            overscan,left_margin = <100>;
            overscan,right_margin = <100>;
            overscan,top_margin = <100>;
            overscan,bottom_margin = <100>;
            video,aspect_ratio = <0>;
            video,clock = <80000>;
            video,crtc_hsync_end = <1500>;
            video,crtc_vsync_end = <777>;
            video,flags = <10>;
            video,hdisplay = <1368>;
            video,vdisplay = <768>;
            video,vrefresh = <60>;
        };

		route_lvds1: route-lvds1 {
			status = "disabled";
			logo,uboot = "logo.bmp";
			logo,kernel = "logo_kernel.bmp";
			logo,mode = "center";
			charge_logo,mode = "center";
			connect = <&vp1_out_lvds1>;
		};
    };
};

&video_phy0 {
    reset-names = "rst";
};

&video_phy1 {
    reset-names = "rst";
};

&can0 {
	assigned-clock-rates = <150000000>;
	assigned-clocks = <&cru 0x141>;
	pinctrl-0 = <&can0m1_pins>;
	pinctrl-names = "default";
};

&can1 {
	//assigned-clock-rates = <150000000>;
	assigned-clock-rates = <200000000>;
	assigned-clocks = <&cru 0x143>;
	pinctrl-0 = <&can1m1_pins>;
	pinctrl-names = "default";
    status = "disabled";
};

&can2 {
	assigned-clock-rates = <150000000>;
	assigned-clocks = <&cru 0x145>;
	pinctrl-0 = <&can2m1_pins>;
	pinctrl-names = "default";
};

&uart0 {
    status = "disabled";
};

&uart1 {
    //status = "disabled";
};

&uart2 {
    status = "okay";
};

&uart3 {
    pinctrl-0 = <&uart3m1_xfer>;
    status = "okay";
};

&uart4 {
    pinctrl-0 = <&uart4m1_xfer>;
    status = "okay";
};

&uart5 {
    pinctrl-0 = <&uart5m1_xfer>;
    status = "okay";
};

&uart7 {
    pinctrl-0 = <&uart7m1_xfer>;
    status = "okay";
};

&uart8 {
    pinctrl-0 = <&uart8m1_xfer>;
    status = "okay";
};

&uart9 {
    pinctrl-0 = <&uart9m1_xfer>;
    status = "okay";
};

&sdmmc0 {
	max-frequency = <50000000>;
	supports-sd;
	status = "okay";
};

&adc_keys {
    //status = "disabled";
};

&spdif_8ch {
    status = "disabled";
};

&vccio_acodec {
    regulator-max-microvolt = <3300000>;
    regulator-min-microvolt = <3300000>;
};
